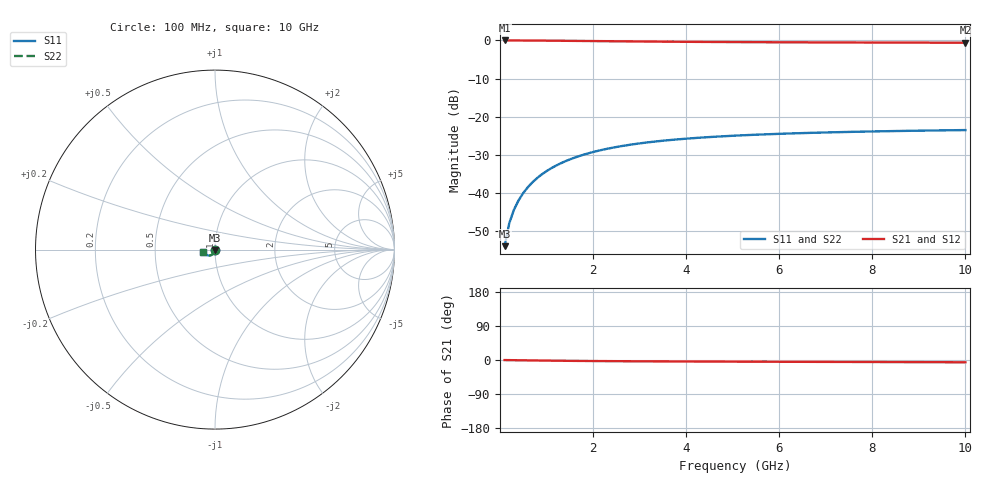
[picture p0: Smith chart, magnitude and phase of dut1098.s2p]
! Touchstone file exported from HFSS 2024.1.0
!  File:  C:/UserFiles/LocalFiles/RDL_TSV_Batchsim/temp_TSV1_1098_1780066982.aedt
!  Generated:  11:08:06 PM May 29, 2026
!  Design:  TSV1
!  Project:  temp_TSV1_1098_1780066982
!  Setup:  Setup1
!  Solution:  Sweep
! Variables:
!  dtsv = 13.86um
!  hbump = 3um
!  htsv = 93.27um
!  lrdl = 252.1521522um
!  p = 40
!  p1 = 52.94um
!  t = 500um
!  trdl = 3um
!  wrdl = 24.89489489um
# GHz S MA R 50.000000
! Terminal data exported
! Port[1] = TSV22_T1
! Port[2] = TSV22_T2
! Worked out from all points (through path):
!   100 points, 100 MHz to 10 GHz, reference 50 ohm
!   highest |S21| = 0.00 dB at 100 MHz (marker M1); lowest = -0.6 dB at 10 GHz (marker M2)
!   lowest |S11| = -53.9 dB at 100 MHz (marker M3), VSWR 1.00, Z = 50 - j0.202 ohm
!   |S11| at or under -10 dB: start of sweep to end of sweep
!   |S22| runs from -53.9 to -23.5 dB; largest |S21 - S12| = 4e-15
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0.1  0.002016 -89.2  0.9998 -0.2  0.9998 -0.2  0.002016 -89.2
! Gamma 0 0 0 0
! Port Impedance 50 0 50 0
0.2  0.004029 -92.1  0.9996 -0.3  0.9996 -0.3  0.004029 -92.1
0.3  0.006039 -94.3  0.9993 -0.5  0.9993 -0.5  0.006039 -94.3
0.4  0.008036 -96.3  0.9988 -0.7  0.9988 -0.7  0.008036 -96.3
0.5  0.01001 -98.3  0.9983 -0.8  0.9983 -0.8  0.01001 -98.3
0.6  0.01196 -100.1  0.9976 -1.0  0.9976 -1.0  0.01196 -100.1
0.7  0.01388 -102.0  0.9968 -1.1  0.9968 -1.1  0.01388 -102.0
0.8  0.01576 -103.8  0.996 -1.3  0.996 -1.3  0.01576 -103.8
0.9  0.01759 -105.5  0.995 -1.4  0.995 -1.4  0.01759 -105.5
1.1  0.02113 -108.9  0.993 -1.7  0.993 -1.7  0.02113 -108.9
1.4  0.02606 -113.7  0.9894 -2.1  0.9894 -2.1  0.02606 -113.7
1.6  0.02908 -116.7  0.9869 -2.3  0.9869 -2.3  0.02908 -116.7
1.8  0.03189 -119.6  0.9843 -2.5  0.9843 -2.5  0.03189 -119.6
2.1  0.03572 -123.5  0.9805 -2.8  0.9805 -2.8  0.03572 -123.5
2.5  0.04016 -128.3  0.9754 -3.1  0.9754 -3.1  0.04016 -128.3
2.9  0.04392 -132.6  0.9707 -3.4  0.9707 -3.4  0.04392 -132.6
3.4  0.04784 -137.2  0.9654 -3.6  0.9654 -3.6  0.04784 -137.2
4.2  0.05271 -143.5  0.9582 -4.0  0.9582 -4.0  0.05271 -143.5
5.1  0.05675 -149.1  0.9518 -4.3  0.9518 -4.3  0.05675 -149.1
6.7  0.06159 -156.9  0.9437 -4.9  0.9437 -4.9  0.06159 -156.9
8.4  0.06485 -163.2  0.938 -5.5  0.938 -5.5  0.06485 -163.1
10  0.06693 -167.9  0.9343 -6.0  0.9343 -6.0  0.06693 -167.9
